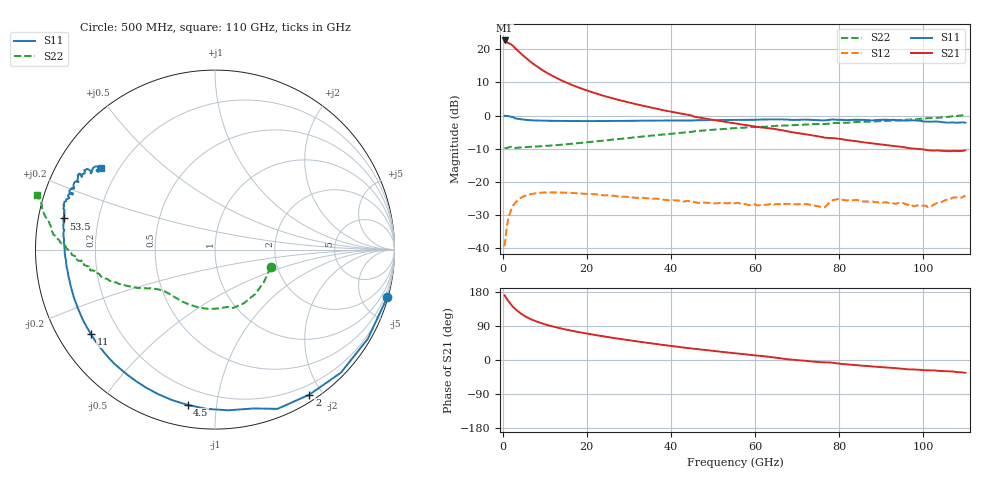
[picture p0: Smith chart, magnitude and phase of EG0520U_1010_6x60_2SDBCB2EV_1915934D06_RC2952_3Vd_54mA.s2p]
!File name = EG0520U_1010_6x60_2SDBCB2EV_1915934D06_RC2952_3Vd_54mA.s2p
!Base file name = EG0520U_1010_6x60_2SDBCB2EV_1915934D06_RC2952
!Date = 8/23/2019
!Time = 1:15 PM
!Test duration(min) = 0.15
!Test = S-Parameters
!MPTS version = 8.91.5
!State File = C:\Data\PNA\20190821205423\S-Parameters_2019-08-23.sta
!Cal File =
!ComputerName = CMPE-LAB-6
!Comments =
!Attenuation = 0
!Z0 = 50
!Input Power(dBm) = -13.00
!Device ID = EG0520U_1010_6x60_2SDBCB2EV
!Row = 29
!Column = 52
!Technology = QPHT09
!Lot/Wafer = 1915934D06
!Gate Size = 360
!Mask = EG0520
!Cal Standards = GaAs BCB
!Cal Kit = EG2306
!Job Number = 20190821205423
!Device Type = FET
!set_Vg(v) = -1.500
!set_Vd(v) = 3.000
!set_Vd(mA) = 54.000
!file_name = EG0520U_1010_6x60_2SDBCB2EV_1915934D06_RC2952_3Vd_54mA.s2p
!Vd(V) = 3.000
!Vd(mA) = 54.200
!Vg(V) = -0.419
!Vg(mA) = -0.001
# GHz  S  DB  R  50
!%	Freq(GHz)  s11(dB)  s11(deg)  s21(dB)  s21(deg)  s12(dB)  s12(deg)  s22(dB)  s22(deg)
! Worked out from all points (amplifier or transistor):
!   220 points, 500 MHz to 110 GHz, reference 50 ohm
!   highest |S21| = 22.7 dB at 500 MHz (marker M1)
!   |S21| within 3 dB of that: start of sweep to 3.58 GHz
!   unconditionally stable (mu >= 1): 31.02 GHz to 102.8 GHz
!   at 18.5 GHz: K = 0.56, MSG = 15.9 dB, |S12| = -23.4 dB
!   at 55.5 GHz: K = 1.53, MAG = 7.7 dB, |S12| = -26.4 dB
!   at 110 GHz: K = -1.55, MSG = 6.8 dB, |S12| = -24.1 dB
!   S11 on the Smith chart (normalised r, x): 500 MHz: 0.11, -7.43; 2 GHz: 0.08, -1.84; 4.5 GHz: 0.11, -0.83; 11 GHz: 0.10, -0.31; 53.5 GHz: 0.08, +0.10; 110 GHz: 0.13, +0.32
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0.5  -0.03 -15.3  22.66 170.7  -39.32 81.2  -9.76 -17.4
1  -0.12 -30.3  22.18 161.9  -33.57 73.1  -9.71 -33.1
1.5  -0.17 -44.3  21.80 154.3  -30.44 65.5  -9.53 -47.9
2  -0.32 -56.9  21.52 146.8  -28.47 58.6  -9.38 -62.0
2.5  -0.42 -68.6  21.05 140.3  -27.12 52.7  -9.36 -73.1
3  -0.81 -76.4  20.34 135.2  -26.33 48.4  -9.72 -77.8
3.5  -0.93 -85.3  19.75 130.1  -25.61 44.0  -9.67 -86.1
4.5  -1.12 -100.0  18.59 121.5  -24.64 36.6  -9.55 -99.6
5.5  -1.26 -111.6  17.47 114.5  -24.07 31.0  -9.49 -109.6
7  -1.40 -124.7  15.92 106.3  -23.58 24.7  -9.35 -120.2
9  -1.49 -136.8  14.12 98.0  -23.23 18.8  -9.22 -128.8
11  -1.55 -145.6  12.59 91.2  -23.13 14.4  -9.06 -134.8
14.5  -1.61 -156.3  10.35 81.7  -23.21 9.2  -8.69 -141.2
19  -1.63 -165.2  8.05 71.8  -23.47 5.1  -8.15 -145.7
26.5  -1.59 -174.6  5.10 58.0  -24.14 2.2  -7.15 -150.5
37  -1.48 177.4  1.98 41.3  -25.07 2.6  -5.81 -156.2
53.5  -1.29 168.4  -1.99 19.8  -26.44 8.0  -3.91 -165.5
55.5  -1.29 167.1  -2.37 17.5  -26.35 7.5  -3.73 -166.6
73.5  -1.28 159.0  -5.93 -3.9  -27.01 8.7  -2.54 -174.3
92  -1.29 150.8  -9.00 -20.5  -26.32 -4.3  -1.53 178.4
101  -1.79 148.5  -10.41 -27.3  -27.48 -2.0  -0.78 173.6
110  -2.13 144.4  -10.45 -33.7  -24.08 -4.7  0.31 162.8
